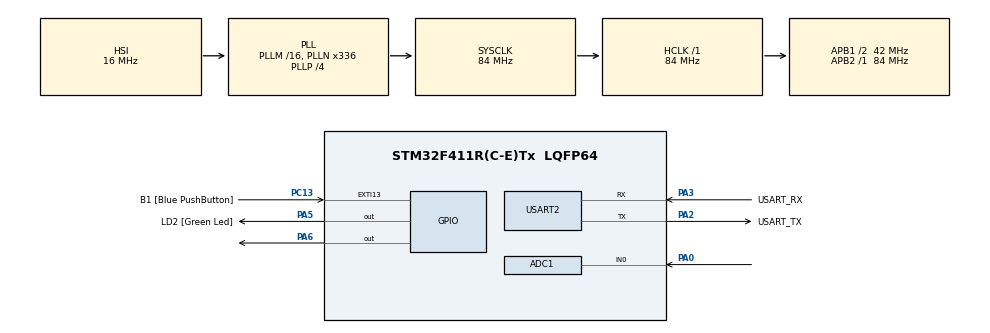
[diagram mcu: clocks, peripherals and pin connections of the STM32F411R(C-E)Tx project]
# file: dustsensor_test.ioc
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ADC1.Channel-0\#ChannelRegularConversion=ADC_CHANNEL_0
ADC1.NbrOfConversionFlag=1
ADC1.Rank-0\#ChannelRegularConversion=1
ADC1.SamplingTime-0\#ChannelRegularConversion=ADC_SAMPLETIME_15CYCLES
ADC1.ScanConvMode=ENABLE
ADC1.master=1
Mcu.Family=STM32F4
Mcu.Name=STM32F411R(C-E)Tx
Mcu.Package=LQFP64
NVIC.PriorityGroup=NVIC_PRIORITYGROUP_0
PA0-WKUP.Signal=ADCx_IN0
PA13.GPIO_Label=TMS
PA13.Mode=Serial_Wire
PA13.Signal=SYS_JTMS-SWDIO
PA14.GPIO_Label=TCK
PA14.Mode=Serial_Wire
PA14.Signal=SYS_JTCK-SWCLK
PA2.GPIO_Label=USART_TX
PA2.Mode=Asynchronous
PA2.Signal=USART2_TX
PA3.GPIO_Label=USART_RX
PA3.Mode=Asynchronous
PA3.Signal=USART2_RX
PA5.GPIO_Label=LD2 [Green Led]
PA5.Signal=GPIO_Output
PA6.GPIO_PuPd=GPIO_PULLUP
PA6.Signal=GPIO_Output
PB3.GPIO_Label=SWO
PB3.Signal=SYS_JTDO-SWO
PC13-ANTI_TAMP.GPIO_Label=B1 [Blue PushButton]
PC13-ANTI_TAMP.GPIO_ModeDefaultEXTI=GPIO_MODE_IT_FALLING
PC13-ANTI_TAMP.Signal=GPXTI13
PC14-OSC32_IN.Mode=LSE-External-Oscillator
PC14-OSC32_IN.Signal=RCC_OSC32_IN
PC15-OSC32_OUT.Mode=LSE-External-Oscillator
PC15-OSC32_OUT.Signal=RCC_OSC32_OUT
PH0\ -\ OSC_IN.Mode=HSE-External-Clock-Source
PH0\ -\ OSC_IN.Signal=RCC_OSC_IN
PH1\ -\ OSC_OUT.Mode=HSE-External-Clock-Source
PH1\ -\ OSC_OUT.Signal=RCC_OSC_OUT
ProjectManager.HeapSize=0x200
ProjectManager.StackSize=0x400
ProjectManager.TargetToolchain=STM32CubeIDE
RCC.48MHZClocksFreq_Value=84000000
RCC.AHBFreq_Value=84000000
RCC.APB1CLKDivider=RCC_HCLK_DIV2
RCC.APB1Freq_Value=42000000
RCC.APB1TimFreq_Value=84000000
RCC.APB2Freq_Value=84000000
RCC.APB2TimFreq_Value=84000000
RCC.CortexFreq_Value=84000000
RCC.FLatency-AdvancedSettings=FLASH_LATENCY_2
RCC.HCLKFreq_Value=84000000
RCC.HSE_VALUE=8000000
RCC.HSI_VALUE=16000000
RCC.PLLN=336
RCC.PLLP=RCC_PLLP_DIV4
RCC.SYSCLKFreq_VALUE=84000000
RCC.SYSCLKSource=RCC_SYSCLKSOURCE_PLLCLK
RCC.VCOOutputFreq_Value=336000000
SH.ADCx_IN0.0=ADC1_IN0,IN0
TIM2.ClockDivision=TIM_CLOCKDIVISION_DIV4
TIM2.Prescaler=84 - 1
USART2.VirtualMode=VM_ASYNC
VP_TIM2_VS_ClockSourceINT.Mode=Internal
board=NUCLEO-F411RE

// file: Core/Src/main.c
/* USER CODE BEGIN Header */
/**
  ******************************************************************************
  * @file           : main.c
  * @brief          : Main program body
  ******************************************************************************
  * @attention
  *
  * Copyright (c) 2025 STMicroelectronics.
  * All rights reserved.
  *
  * This software is licensed under terms that can be found in the LICENSE file
  * in the root directory of this software component.
  * If no LICENSE file comes with this software, it is provided AS-IS.
  *
  ******************************************************************************
  */
/* USER CODE END Header */
#include "main.h"
#include <stdio.h>
#include <string.h>

/* USER CODE BEGIN PTD */
#ifdef __GNUC__
/* With GCC, small printf (option LD Linker->Libraries->Small printf
   set to 'Yes') calls __io_putchar() */
#define PUTCHAR_PROTOTYPE int __io_putchar(int ch)
#else
#define PUTCHAR_PROTOTYPE int fputc(int ch, FILE *f)
#endif /* __GNUC__ */
/* USER CODE END PTD */

ADC_HandleTypeDef hadc1;

TIM_HandleTypeDef htim2;

UART_HandleTypeDef huart2;

/* USER CODE BEGIN PV */
//float Vo_value = 0;
//float Voltage = 0;
//float dustDensity =0;
float Voltage = 0.0f;
float dustDensity = 0.0f;
uint32_t Vo_value;
uint32_t adc_value = 0;
char uart_buffer[100];

/* USER CODE END PV */

void SystemClock_Config(void);
static void MX_GPIO_Init(void);
static void MX_ADC1_Init(void);
static void MX_TIM2_Init(void);
static void MX_USART2_UART_Init(void);
/* USER CODE BEGIN PFP */
void delay_us(uint32_t us);
/* USER CODE END PFP */

int main(void)
{

  /* MCU Configuration--------------------------------------------------------*/

  /* Reset of all peripherals, Initializes the Flash interface and the Systick. */
  HAL_Init();

  /* Configure the system clock */
  SystemClock_Config();

  /* Initialize all configured peripherals */
  MX_GPIO_Init();
  MX_ADC1_Init();
  MX_TIM2_Init();
  MX_USART2_UART_Init();
  /* USER CODE BEGIN 2 */
  HAL_TIM_Base_Start(&htim2);

  strcpy(uart_buffer, "Dust Sensor Started\r\n");
  HAL_UART_Transmit(&huart2, (uint8_t*)uart_buffer, strlen(uart_buffer), 1000);

  /* USER CODE END 2 */

  /* Infinite loop */
  /* USER CODE BEGIN WHILE */
  while (1)
  {
	  // LED ON (LOW) - 센서 측정 시작
	  	      HAL_GPIO_WritePin(GPIOA, GPIO_PIN_6, GPIO_PIN_RESET);
	  	      delay_us(280);

	  	  // ADC 값 읽기
	  		  HAL_ADC_Start(&hadc1);
	  		  HAL_ADC_PollForConversion(&hadc1, 100);
	  		  adc_value = HAL_ADC_GetValue(&hadc1);
	  		  HAL_ADC_Stop(&hadc1);

	  	  //LED OFF (HIGH)
	  		  HAL_GPIO_WritePin(GPIOA, GPIO_PIN_6, GPIO_PIN_SET);
	  		  delay_us(9680);
	  		// ADC 값 확인
	  		sprintf(uart_buffer, "ADC: %lu\r\n", adc_value);
	  		HAL_UART_Transmit(&huart2, (uint8_t*)uart_buffer, strlen(uart_buffer), 1000);

	  		// 전압 계산 직후 즉시 확인
	  		Voltage = adc_value * 3.3 / 4095.0;
	  		sprintf(uart_buffer, "Voltage Calc: %.3f\r\n", Voltage);
	  		HAL_UART_Transmit(&huart2, (uint8_t*)uart_buffer, strlen(uart_buffer), 1000);

	  		// 각 단계별 계산 확인
	  		float offset = 0.3f * (3.3f / 5.0f);
	  		float scale = 0.005f * (3.3f / 5.0f);
	  		sprintf(uart_buffer, "Offset: %.3f, Scale: %.3f\r\n", offset, scale);
	  		HAL_UART_Transmit(&huart2, (uint8_t*)uart_buffer, strlen(uart_buffer), 1000);

	  		dustDensity = (Voltage - offset) / scale;
	  		if(dustDensity < 0) dustDensity = 0;
	  		sprintf(uart_buffer, "dustDensity: %.3f\r\n", dustDensity);
	  		HAL_UART_Transmit(&huart2, (uint8_t*)uart_buffer, strlen(uart_buffer), 1000);

	  		HAL_Delay(1000);  // 1초 대기
    /* USER CODE END WHILE */

  }
}

void SystemClock_Config(void)
{
  RCC_OscInitTypeDef RCC_OscInitStruct = {0};
  RCC_ClkInitTypeDef RCC_ClkInitStruct = {0};

  /** Configure the main internal regulator output voltage
  */
  __HAL_RCC_PWR_CLK_ENABLE();
  __HAL_PWR_VOLTAGESCALING_CONFIG(PWR_REGULATOR_VOLTAGE_SCALE1);

  /** Initializes the RCC Oscillators according to the specified parameters
  * in the RCC_OscInitTypeDef structure.
  */
  RCC_OscInitStruct.OscillatorType = RCC_OSCILLATORTYPE_HSI;
  RCC_OscInitStruct.HSIState = RCC_HSI_ON;
  RCC_OscInitStruct.HSICalibrationValue = RCC_HSICALIBRATION_DEFAULT;
  RCC_OscInitStruct.PLL.PLLState = RCC_PLL_ON;
  RCC_OscInitStruct.PLL.PLLSource = RCC_PLLSOURCE_HSI;
  RCC_OscInitStruct.PLL.PLLM = 16;
  RCC_OscInitStruct.PLL.PLLN = 336;
  RCC_OscInitStruct.PLL.PLLP = RCC_PLLP_DIV4;
  RCC_OscInitStruct.PLL.PLLQ = 4;
  if (HAL_RCC_OscConfig(&RCC_OscInitStruct) != HAL_OK)
  {
    Error_Handler();
  }

  /** Initializes the CPU, AHB and APB buses clocks
  */
  RCC_ClkInitStruct.ClockType = RCC_CLOCKTYPE_HCLK|RCC_CLOCKTYPE_SYSCLK
                              |RCC_CLOCKTYPE_PCLK1|RCC_CLOCKTYPE_PCLK2;
  RCC_ClkInitStruct.SYSCLKSource = RCC_SYSCLKSOURCE_PLLCLK;
  RCC_ClkInitStruct.AHBCLKDivider = RCC_SYSCLK_DIV1;
  RCC_ClkInitStruct.APB1CLKDivider = RCC_HCLK_DIV2;
  RCC_ClkInitStruct.APB2CLKDivider = RCC_HCLK_DIV1;

  if (HAL_RCC_ClockConfig(&RCC_ClkInitStruct, FLASH_LATENCY_2) != HAL_OK)
  {
    Error_Handler();
  }
}

static void MX_ADC1_Init(void)
{

  ADC_ChannelConfTypeDef sConfig = {0};

  /** Configure the global features of the ADC (Clock, Resolution, Data Alignment and number of conversion)
  */
  hadc1.Instance = ADC1;
  hadc1.Init.ClockPrescaler = ADC_CLOCK_SYNC_PCLK_DIV4;
  hadc1.Init.Resolution = ADC_RESOLUTION_12B;
  hadc1.Init.ScanConvMode = ENABLE;
  hadc1.Init.ContinuousConvMode = DISABLE;
  hadc1.Init.DiscontinuousConvMode = DISABLE;
  hadc1.Init.ExternalTrigConvEdge = ADC_EXTERNALTRIGCONVEDGE_NONE;
  hadc1.Init.ExternalTrigConv = ADC_SOFTWARE_START;
  hadc1.Init.DataAlign = ADC_DATAALIGN_RIGHT;
  hadc1.Init.NbrOfConversion = 1;
  hadc1.Init.DMAContinuousRequests = DISABLE;
  hadc1.Init.EOCSelection = ADC_EOC_SINGLE_CONV;
  if (HAL_ADC_Init(&hadc1) != HAL_OK)
  {
    Error_Handler();
  }

  /** Configure for the selected ADC regular channel its corresponding rank in the sequencer and its sample time.
  */
  sConfig.Channel = ADC_CHANNEL_0;
  sConfig.Rank = 1;
  sConfig.SamplingTime = ADC_SAMPLETIME_15CYCLES;
  if (HAL_ADC_ConfigChannel(&hadc1, &sConfig) != HAL_OK)
  {
    Error_Handler();
  }

}

static void MX_TIM2_Init(void)
{

  TIM_ClockConfigTypeDef sClockSourceConfig = {0};
  TIM_MasterConfigTypeDef sMasterConfig = {0};

  htim2.Instance = TIM2;
  htim2.Init.Prescaler = 84 - 1;
  htim2.Init.CounterMode = TIM_COUNTERMODE_UP;
  htim2.Init.Period = 4294967295;
  htim2.Init.ClockDivision = TIM_CLOCKDIVISION_DIV4;
  htim2.Init.AutoReloadPreload = TIM_AUTORELOAD_PRELOAD_DISABLE;
  if (HAL_TIM_Base_Init(&htim2) != HAL_OK)
  {
    Error_Handler();
  }
  sClockSourceConfig.ClockSource = TIM_CLOCKSOURCE_INTERNAL;
  if (HAL_TIM_ConfigClockSource(&htim2, &sClockSourceConfig) != HAL_OK)
  {
    Error_Handler();
  }
  sMasterConfig.MasterOutputTrigger = TIM_TRGO_RESET;
  sMasterConfig.MasterSlaveMode = TIM_MASTERSLAVEMODE_DISABLE;
  if (HAL_TIMEx_MasterConfigSynchronization(&htim2, &sMasterConfig) != HAL_OK)
  {
    Error_Handler();
  }

}

static void MX_USART2_UART_Init(void)
{

  huart2.Instance = USART2;
  huart2.Init.BaudRate = 115200;
  huart2.Init.WordLength = UART_WORDLENGTH_8B;
  huart2.Init.StopBits = UART_STOPBITS_1;
  huart2.Init.Parity = UART_PARITY_NONE;
  huart2.Init.Mode = UART_MODE_TX_RX;
  huart2.Init.HwFlowCtl = UART_HWCONTROL_NONE;
  huart2.Init.OverSampling = UART_OVERSAMPLING_16;
  if (HAL_UART_Init(&huart2) != HAL_OK)
  {
    Error_Handler();
  }

}

static void MX_GPIO_Init(void)
{
  GPIO_InitTypeDef GPIO_InitStruct = {0};

  /* GPIO Ports Clock Enable */
  __HAL_RCC_GPIOC_CLK_ENABLE();
  __HAL_RCC_GPIOH_CLK_ENABLE();
  __HAL_RCC_GPIOA_CLK_ENABLE();
  __HAL_RCC_GPIOB_CLK_ENABLE();

  /*Configure GPIO pin Output Level */
  HAL_GPIO_WritePin(GPIOA, LD2_Pin|GPIO_PIN_6, GPIO_PIN_RESET);

  /*Configure GPIO pin : B1_Pin */
  GPIO_InitStruct.Pin = B1_Pin;
  GPIO_InitStruct.Mode = GPIO_MODE_IT_FALLING;
  GPIO_InitStruct.Pull = GPIO_NOPULL;
  HAL_GPIO_Init(B1_GPIO_Port, &GPIO_InitStruct);

  /*Configure GPIO pin : LD2_Pin */
  GPIO_InitStruct.Pin = LD2_Pin;
  GPIO_InitStruct.Mode = GPIO_MODE_OUTPUT_PP;
  GPIO_InitStruct.Pull = GPIO_NOPULL;
  GPIO_InitStruct.Speed = GPIO_SPEED_FREQ_LOW;
  HAL_GPIO_Init(LD2_GPIO_Port, &GPIO_InitStruct);

  /*Configure GPIO pin : PA6 */
  GPIO_InitStruct.Pin = GPIO_PIN_6;
  GPIO_InitStruct.Mode = GPIO_MODE_OUTPUT_PP;
  GPIO_InitStruct.Pull = GPIO_PULLUP;
  GPIO_InitStruct.Speed = GPIO_SPEED_FREQ_LOW;
  HAL_GPIO_Init(GPIOA, &GPIO_InitStruct);

}

/* USER CODE BEGIN 4 */
void delay_us(uint32_t us)
{
    __HAL_TIM_SET_COUNTER(&htim2, 0);
    while (__HAL_TIM_GET_COUNTER(&htim2) < us);
}

/* USER CODE END 4 */

void Error_Handler(void)
{
  __disable_irq();
  while (1)
  {
  }
}
